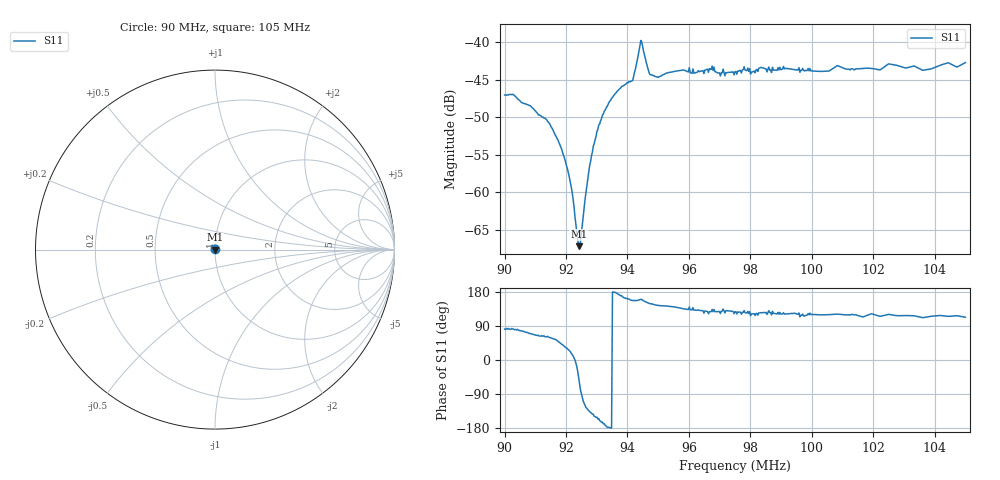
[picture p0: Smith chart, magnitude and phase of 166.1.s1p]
# HZ S RI R 50
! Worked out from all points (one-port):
!   505 points, 90 MHz to 105 MHz, reference 50 ohm
!   lowest |S11| = -67.2 dB at 92.41 MHz (marker M1), VSWR 1.00, Z = 50 - j0.0317 ohm
!   |S11| at or under -10 dB: start of sweep to end of sweep
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9e7  0.000662 0.0044
9.032738e7  0.000757 0.00435
9.136905e7  0.00148 0.00267
9.187501e7  0.00143 0.00123
9.214286e7  0.00107 0.000426
9.23512e7  0.00051 -0.000162
9.241072e7  0.0003 -0.000317
9.250001e7  7.76e-06 -0.000533
9.264882e7  -0.000583 -0.000811
9.276787e7  -0.00108 -0.00104
9.300596e7  -0.00223 -0.00124
9.330358e7  -0.00362 -0.000366
9.375001e7  -0.00485 0.000757
9.416668e7  -0.00511 0.00219
9.443454e7  -0.00968 0.00352
9.449406e7  -0.00867 0.00353
9.476192e7  -0.00516 0.0032
9.562502e7  -0.00484 0.00427
9.675597e7  -0.00477 0.00505
9.696431e7  -0.00384 0.00493
9.750002e7  -0.00388 0.00505
9.937503e7  -0.00357 0.00555
1.0125e8  -0.0031 0.00576
1.022024e8  -0.00284 0.00591
1.025298e8  -0.00358 0.00621
1.03125e8  -0.00311 0.00604
1.036608e8  -0.00249 0.00605
1.05e8  -0.00285 0.00676
